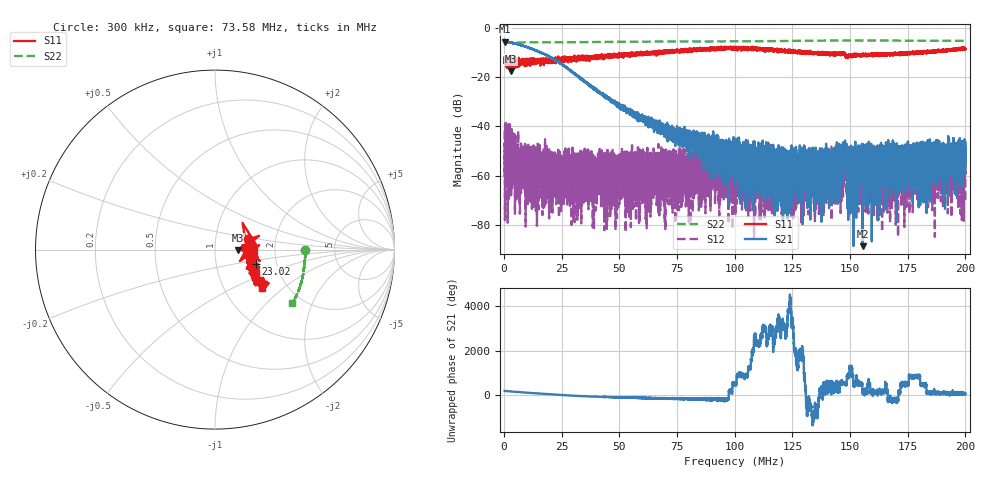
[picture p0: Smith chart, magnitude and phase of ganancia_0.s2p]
# Hz S DB R 50
! CMT, M5065, 19127446, 24.2.4/2
! Date: 11/8/2024 6:28:09 PM
! Data: Format (Calibration Info)
! Freq	S11:dB/Ang(F2)	S21:dB/Ang(F2)	S12:dB/Ang(F2)	S22:dB/Ang(F2)
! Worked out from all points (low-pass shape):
!   9000 points, 300 kHz to 200 MHz, reference 50 ohm
!   highest |S21| = -5.74 dB at 322.2 kHz (marker M1); lowest = -88.5 dB at 155.4 MHz (marker M2)
!   |S21| within 3 dB of the highest: start of sweep to 12.43 MHz; 12.47423 MHz to 12.5113 MHz (37.07 kHz wide, 0.297 % of centre)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
!   lowest |S11| = -17.7 dB at 2.896 MHz (marker M3), VSWR 1.30, Z = 65 - j0.272 ohm
!   |S11| at or under -10 dB: start of sweep to 59.21 MHz; 139.5 MHz to 147.3 MHz (7.744 MHz wide, 5.4 % of centre); 147.3 MHz to 171.4 MHz (24.09 MHz wide, 15.1 % of centre)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
!   |S22| runs from -6.0 to -5.2 dB; largest |S21 - S12| = 0.52
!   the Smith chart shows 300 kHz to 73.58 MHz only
!   S11 on the Smith chart (normalised r, x): 300 kHz: 1.45, +0.17; 23.02 MHz: 1.56, -0.26; 73.58 MHz: 1.50, -0.72
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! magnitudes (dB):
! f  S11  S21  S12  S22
! 300 kHz  -14.2  -5.9  -41.6  -6.0
! 322.2 kHz  -13.3  -5.7  -56.7  -6.0
! 1.321 MHz  -16.2  -5.9  -48.4  -5.9
! 2.896 MHz  -17.7  -6.1  -55.3  -6.0
! 7.091 MHz  -15.2  -7.0  -66.2  -6.0
! 23.02 MHz  -12.4  -13.6  -51.5  -5.9
! 33.59 MHz  -12.7  -20.7  -71.6  -5.9
! 66.87 MHz  -10.2  -38.9  -59.3  -5.6
! 73.58 MHz  -9.5  -41.1  -55.9  -5.6
! 100.2 MHz  -8.2  -49.4  -53.3  -5.5
! 120.7 MHz  -9.1  -52.9  -61.8  -5.4
! 133.4 MHz  -10.3  -61.6  -55.0  -5.3
! 141.1 MHz  -10.4  -58.4  -56.1  -5.2
! 146.2 MHz  -10.8  -55.0  -54.3  -5.2
! 147.8 MHz  -10.9  -51.2  -60.8  -5.2
! 149.9 MHz  -11.3  -53.9  -61.4  -5.2
! 155.4 MHz  -11.3  -88.5  -53.7  -5.2
! 166.7 MHz  -10.7  -50.8  -57.9  -5.2
! 193.1 MHz  -8.9  -48.2  -60.5  -5.3
! 195.5 MHz  -8.9  -55.1  -51.6  -5.4
! 199 MHz  -8.1  -52.1  -55.6  -5.3
! 200 MHz  -8.6  -53.0  -69.9  -5.4
